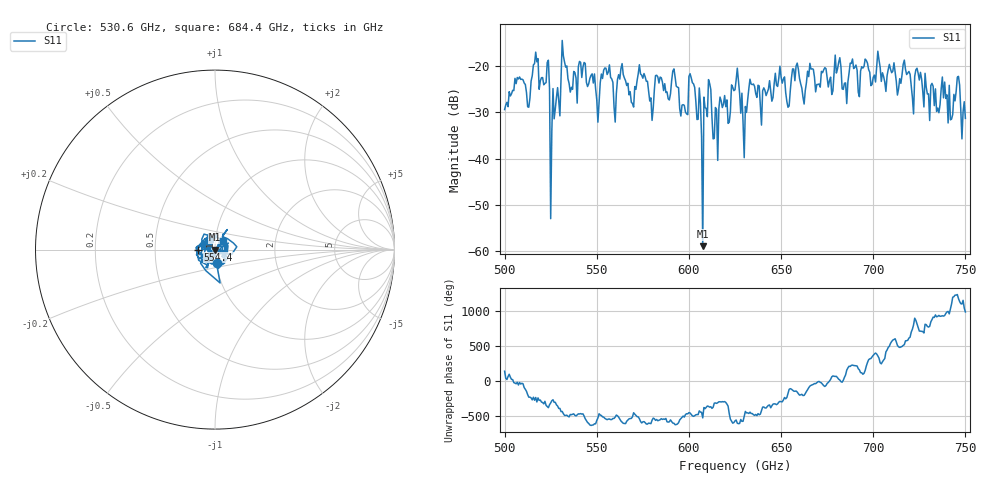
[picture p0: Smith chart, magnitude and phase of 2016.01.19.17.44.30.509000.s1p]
!Created with skrf (http://scikit-rf.org).
# GHz S RI R 50.0
!freq ReS11 ImS11
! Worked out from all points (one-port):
!   401 points, 500 GHz to 750 GHz, reference 50 ohm
!   lowest |S11| = -58.9 dB at 607.5 GHz (marker M1), VSWR 1.00, Z = 49.9 - j0.0128 ohm
!   |S11| at or under -10 dB: start of sweep to end of sweep
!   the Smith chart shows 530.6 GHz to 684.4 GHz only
!   S11 on the Smith chart (normalised r, x): 530.6 GHz: 1.01, -0.15; 554.4 GHz: 0.83, -0.00; 684.4 GHz: 1.09, +0.10
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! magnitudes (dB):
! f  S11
! 500 GHz  -29.4
! 513.1 GHz  -28.9
! 516.9 GHz  -17.0
! 523.1 GHz  -19.3
! 526.2 GHz  -24.9
! 530.6 GHz  -22.4
! 531.2 GHz  -14.5
! 550.6 GHz  -32.2
! 554.4 GHz  -20.5
! 559.4 GHz  -28.9
! 562.5 GHz  -22.9
! 568.8 GHz  -27.8
! 573.8 GHz  -21.7
! 593.8 GHz  -24.6
! 598.1 GHz  -30.0
! 601.9 GHz  -23.6
! 607.5 GHz  -58.9
! 610.6 GHz  -23.0
! 614.4 GHz  -29.0
! 625 GHz  -25.2
! 630.6 GHz  -28.8
! 633.8 GHz  -23.9
! 656.2 GHz  -20.7
! 680.6 GHz  -20.7
! 684.4 GHz  -23.8
! 687.5 GHz  -19.4
! 718.8 GHz  -21.5
! 750 GHz  -31.3
